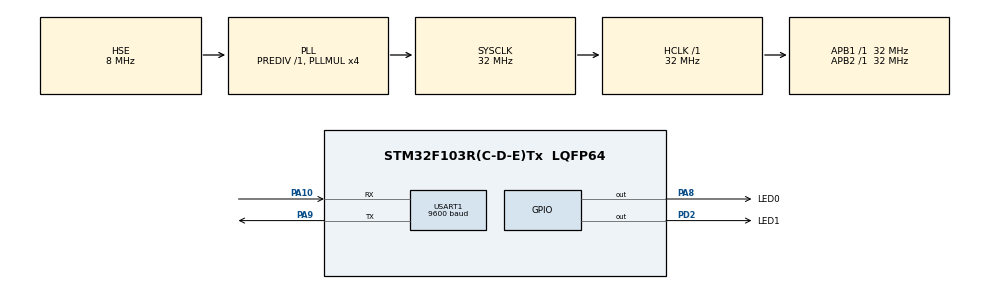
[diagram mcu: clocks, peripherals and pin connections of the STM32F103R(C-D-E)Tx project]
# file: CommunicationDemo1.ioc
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Mcu.Family=STM32F1
Mcu.Name=STM32F103R(C-D-E)Tx
Mcu.Package=LQFP64
NVIC.PriorityGroup=NVIC_PRIORITYGROUP_4
NVIC.USART1_IRQn=true\:0\:0\:false\:false\:true\:true\:true
PA10.Mode=Asynchronous
PA10.Signal=USART1_RX
PA8.GPIO_Label=LED0
PA8.Signal=GPIO_Output
PA9.Mode=Asynchronous
PA9.Signal=USART1_TX
PC14-OSC32_IN.Mode=LSE-External-Oscillator
PC14-OSC32_IN.Signal=RCC_OSC32_IN
PC15-OSC32_OUT.Mode=LSE-External-Oscillator
PC15-OSC32_OUT.Signal=RCC_OSC32_OUT
PD0-OSC_IN.Mode=HSE-External-Oscillator
PD0-OSC_IN.Signal=RCC_OSC_IN
PD1-OSC_OUT.Mode=HSE-External-Oscillator
PD1-OSC_OUT.Signal=RCC_OSC_OUT
PD2.GPIO_Label=LED1
PD2.Signal=GPIO_Output
ProjectManager.HeapSize=0x200
ProjectManager.StackSize=0x400
ProjectManager.TargetToolchain=MDK-ARM V5
RCC.AHBFreq_Value=32000000
RCC.APB1Freq_Value=32000000
RCC.APB1TimFreq_Value=32000000
RCC.APB2Freq_Value=32000000
RCC.APB2TimFreq_Value=32000000
RCC.HCLKFreq_Value=32000000
RCC.PLLMUL=RCC_PLL_MUL4
RCC.PLLSourceVirtual=RCC_PLLSOURCE_HSE
RCC.SYSCLKFreq_VALUE=32000000
RCC.SYSCLKSource=RCC_SYSCLKSOURCE_PLLCLK
RCC.USBFreq_Value=32000000
USART1.BaudRate=9600
USART1.VirtualMode=VM_ASYNC
VP_SYS_VS_ND.Mode=No_Debug
board=custom

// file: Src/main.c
/* USER CODE BEGIN Header */
/**
  ******************************************************************************
  * @file           : main.c
  * @brief          : Main program body
  ******************************************************************************
  * @attention
  *
  * <h2><center>&copy; Copyright (c) 2020 STMicroelectronics.
  * All rights reserved.</center></h2>
  *
  * This software component is licensed by ST under BSD 3-Clause license,
  * the "License"; You may not use this file except in compliance with the
  * License. You may obtain a copy of the License at:
  *                        opensource.org/licenses/BSD-3-Clause
  *
  ******************************************************************************
  */
/* USER CODE END Header */

#include "main.h"
#include "usart.h"
#include "gpio.h"

/* USER CODE BEGIN PD */
#define LED1_CLOSE HAL_GPIO_WritePin(LED1_GPIO_Port, LED1_Pin, GPIO_PIN_SET);
#define LED1_OPEN HAL_GPIO_WritePin(LED1_GPIO_Port, LED1_Pin, GPIO_PIN_RESET);
/* USER CODE END PD */

void SystemClock_Config(void);

/* USER CODE BEGIN 0 */
  uint8_t Tx_str1[] = "Hello World!!!!\r\n";
  uint8_t Tx_str2[] = "LED1 OPEN!!!!\r\n";
  uint8_t Tx_str3[] = "LED1 CLOSE!!!!\r\n";
  uint8_t Rx_dat = 0 ;

  void HAL_UART_RxCpltCallback(UART_HandleTypeDef *huart){
    if(huart->Instance == USART1){
      if(Rx_dat == 0xA1){
        HAL_UART_Transmit_IT(&huart1, Tx_str2, sizeof(Tx_str2));
        //HAL_GPIO_TogglePin(LED1_GPIO_Port, LED1_Pin);
      }
      if(Rx_dat == 0xA2){
        HAL_UART_Transmit_IT(&huart1, Tx_str3, sizeof(Tx_str3));
        //HAL_GPIO_TogglePin(LED0_GPIO_Port, LED0_Pin);
      }
    }
  }

  void HAL_UART_TxCpltCallback(UART_HandleTypeDef *huart){
    if(huart->Instance == USART1){
      HAL_GPIO_TogglePin(LED1_GPIO_Port, LED1_Pin);
      HAL_GPIO_TogglePin(LED0_GPIO_Port, LED0_Pin);
    }
  }
/* USER CODE END 0 */

int main(void)
{

  /* MCU Configuration--------------------------------------------------------*/

  /* Reset of all peripherals, Initializes the Flash interface and the Systick. */
  HAL_Init();

  /* Configure the system clock */
  SystemClock_Config();

  /* Initialize all configured peripherals */
  MX_GPIO_Init();
  MX_USART1_UART_Init();
  /* USER CODE BEGIN 2 */
  HAL_UART_Transmit_IT(&huart1, Tx_str1, sizeof(Tx_str1));

 // HAL_UART_Receive_IT(&huart1, &Rx_dat, sizeof(Rx_dat));

  /* USER CODE END 2 */

  /* Infinite loop */
  /* USER CODE BEGIN WHILE */
  while (1)
  {
    HAL_UART_Receive_IT(&huart1, &Rx_dat, sizeof(Rx_dat));
    /* USER CODE END WHILE */

  }
}

void SystemClock_Config(void)
{
  RCC_OscInitTypeDef RCC_OscInitStruct = {0};
  RCC_ClkInitTypeDef RCC_ClkInitStruct = {0};

  /** Initializes the CPU, AHB and APB busses clocks
  */
  RCC_OscInitStruct.OscillatorType = RCC_OSCILLATORTYPE_HSE;
  RCC_OscInitStruct.HSEState = RCC_HSE_ON;
  RCC_OscInitStruct.HSEPredivValue = RCC_HSE_PREDIV_DIV1;
  RCC_OscInitStruct.HSIState = RCC_HSI_ON;
  RCC_OscInitStruct.PLL.PLLState = RCC_PLL_ON;
  RCC_OscInitStruct.PLL.PLLSource = RCC_PLLSOURCE_HSE;
  RCC_OscInitStruct.PLL.PLLMUL = RCC_PLL_MUL4;
  if (HAL_RCC_OscConfig(&RCC_OscInitStruct) != HAL_OK)
  {
    Error_Handler();
  }
  /** Initializes the CPU, AHB and APB busses clocks
  */
  RCC_ClkInitStruct.ClockType = RCC_CLOCKTYPE_HCLK|RCC_CLOCKTYPE_SYSCLK
                              |RCC_CLOCKTYPE_PCLK1|RCC_CLOCKTYPE_PCLK2;
  RCC_ClkInitStruct.SYSCLKSource = RCC_SYSCLKSOURCE_PLLCLK;
  RCC_ClkInitStruct.AHBCLKDivider = RCC_SYSCLK_DIV1;
  RCC_ClkInitStruct.APB1CLKDivider = RCC_HCLK_DIV1;
  RCC_ClkInitStruct.APB2CLKDivider = RCC_HCLK_DIV1;

  if (HAL_RCC_ClockConfig(&RCC_ClkInitStruct, FLASH_LATENCY_1) != HAL_OK)
  {
    Error_Handler();
  }
}

void Error_Handler(void)
{
}

/************************ (C) COPYRIGHT STMicroelectronics *****END OF FILE****/
